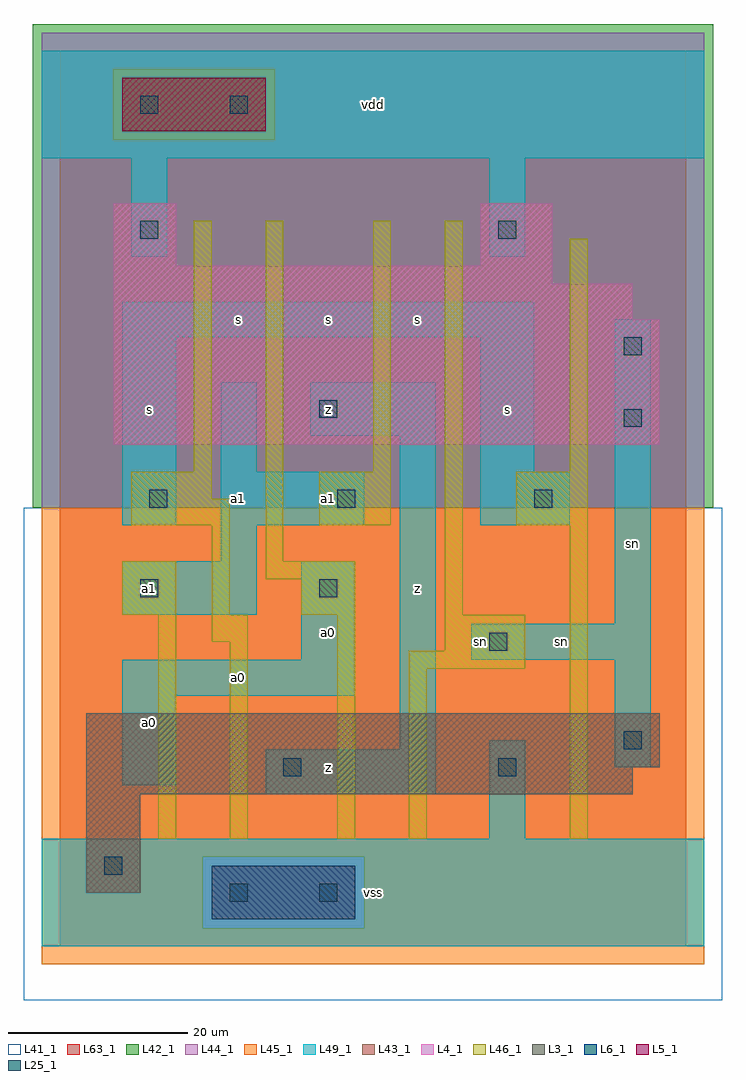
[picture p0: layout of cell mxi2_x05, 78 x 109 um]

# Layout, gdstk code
import gdstk
lib = gdstk.Library(unit=1e-6, precision=1e-09)
def R(c, l, rs):  # rectangles x0, y0, x1, y1
    for r in rs: c.add(gdstk.rectangle(r[:2], r[2:], *l))
L3_1 = (3, 1)
L4_1 = (4, 1)
L5_1 = (5, 1)
L6_1 = (6, 1)
L25_1 = (25, 1)
L41_1 = (41, 1)
L42_1 = (42, 1)
L43_1 = (43, 1)
L44_1 = (44, 1)
L45_1 = (45, 1)
L46_1 = (46, 1)
L49_1 = (49, 1)
L63_1 = (63, 1)

mxi2_x05 = lib.new_cell('mxi2_x05')
R(mxi2_x05, L3_1, [(3,6,9,17), (3,17,64,20), (3,20,67,26)])
R(mxi2_x05, L4_1, [(6,56,67,70), (6,70,64,74), (6,74,55,76), (6,76,13,83), (47,76,55,83)])
R(mxi2_x05, L5_1, [(7,91,23,97)])
R(mxi2_x05, L6_1, [(17,3,33,9)])
R(mxi2_x05, L25_1, [(19,5,21,7), (29,5,31,7), (5,8,7,10), (25,19,27,21), (49,19,51,21), (63,22,65,24), (48,33,50,35), (9,39,11,41), (29,39,31,41), (10,49,12,51), (31,49,33,51), (53,49,55,51), (63,58,65,60), (29,59,31,61), (63,66,65,68), (9,79,11,81), (49,79,51,81), (9,93,11,95), (19,93,21,95)])
R(mxi2_x05, L41_1, [(-4,-6,74,49), (-3,-3,73,49)])
R(mxi2_x05, L42_1, [(-3,49,73,103)])
R(mxi2_x05, L43_1, [(17,3,33,9), (3,6,9,17), (3,17,64,20), (3,20,67,26), (6,56,67,70), (6,70,64,74), (6,74,55,76), (6,76,13,83), (47,76,55,83), (7,91,23,97)])
R(mxi2_x05, L44_1, [(16,2,34,10), (-2,49,72,90), (-2,90,6,98), (24,90,72,98), (-2,98,72,102)])
R(mxi2_x05, L45_1, [(-2,-2,72,2), (-2,2,16,10), (34,2,72,10), (-2,10,72,49), (6,90,24,98)])
R(mxi2_x05, L46_1, [(11,12,13,37), (19,12,21,34), (31,12,33,37), (39,12,41,31), (57,12,59,47), (39,31,52,33), (43,33,52,37), (17,34,21,37), (7,37,13,43), (17,37,19,47), (27,37,33,41), (43,37,45,81), (23,41,33,43), (23,43,25,81), (8,47,19,50), (29,47,37,53), (51,47,59,53), (8,50,17,53), (15,53,17,81), (35,53,37,81), (57,53,59,79)])
R(mxi2_x05, L49_1, [(-2,0,72,12), (48,12,52,23), (23,17,42,22), (7,18,13,28), (62,20,66,32), (38,22,42,57), (7,28,33,32), (27,32,33,43), (46,32,66,36), (62,36,66,70), (7,37,22,43), (18,43,22,47), (7,47,13,68), (18,47,34,53), (47,47,57,53), (18,53,22,63), (47,53,53,68), (28,57,42,63), (7,68,53,72), (8,77,12,88), (48,77,52,88), (-2,88,72,100)])
R(mxi2_x05, L63_1, [(0,0,70,100)])
mxi2_x05.add(gdstk.Label('sn', (47,34), layer=46, texttype=1))
mxi2_x05.add(gdstk.Label('a0', (10,25), layer=49, texttype=1))
mxi2_x05.add(gdstk.Label('a0', (10,25), layer=49, texttype=1))
mxi2_x05.add(gdstk.Label('a0', (20,30), layer=49, texttype=1))
mxi2_x05.add(gdstk.Label('a0', (20,30), layer=49, texttype=1))
mxi2_x05.add(gdstk.Label('a1', (10,40), layer=49, texttype=1))
mxi2_x05.add(gdstk.Label('a1', (10,40), layer=49, texttype=1))
mxi2_x05.add(gdstk.Label('a1', (20,50), layer=49, texttype=1))
mxi2_x05.add(gdstk.Label('a1', (20,50), layer=49, texttype=1))
mxi2_x05.add(gdstk.Label('s', (10,60), layer=49, texttype=1))
mxi2_x05.add(gdstk.Label('s', (10,60), layer=49, texttype=1))
mxi2_x05.add(gdstk.Label('s', (20,70), layer=49, texttype=1))
mxi2_x05.add(gdstk.Label('s', (20,70), layer=49, texttype=1))
mxi2_x05.add(gdstk.Label('vss', (35,6), layer=49, texttype=1))
mxi2_x05.add(gdstk.Label('vss', (35,6), layer=49, texttype=1))
mxi2_x05.add(gdstk.Label('z', (30,20), layer=49, texttype=1))
mxi2_x05.add(gdstk.Label('z', (30,20), layer=49, texttype=1))
mxi2_x05.add(gdstk.Label('a0', (30,35), layer=49, texttype=1))
mxi2_x05.add(gdstk.Label('a0', (30,35), layer=49, texttype=1))
mxi2_x05.add(gdstk.Label('a1', (30,50), layer=49, texttype=1))
mxi2_x05.add(gdstk.Label('a1', (30,50), layer=49, texttype=1))
mxi2_x05.add(gdstk.Label('z', (30,60), layer=49, texttype=1))
mxi2_x05.add(gdstk.Label('z', (30,60), layer=49, texttype=1))
mxi2_x05.add(gdstk.Label('s', (30,70), layer=49, texttype=1))
mxi2_x05.add(gdstk.Label('s', (30,70), layer=49, texttype=1))
mxi2_x05.add(gdstk.Label('vdd', (35,94), layer=49, texttype=1))
mxi2_x05.add(gdstk.Label('vdd', (35,94), layer=49, texttype=1))
mxi2_x05.add(gdstk.Label('z', (40,40), layer=49, texttype=1))
mxi2_x05.add(gdstk.Label('z', (40,40), layer=49, texttype=1))
mxi2_x05.add(gdstk.Label('s', (50,60), layer=49, texttype=1))
mxi2_x05.add(gdstk.Label('s', (50,60), layer=49, texttype=1))
mxi2_x05.add(gdstk.Label('s', (40,70), layer=49, texttype=1))
mxi2_x05.add(gdstk.Label('s', (40,70), layer=49, texttype=1))
mxi2_x05.add(gdstk.Label('sn', (56,34), layer=49, texttype=1))
mxi2_x05.add(gdstk.Label('sn', (64,45), layer=49, texttype=1))

lib.write_gds('mxi2_x05.gds')
